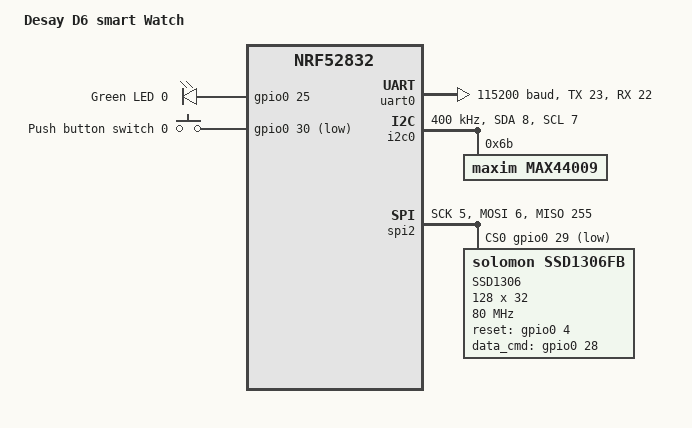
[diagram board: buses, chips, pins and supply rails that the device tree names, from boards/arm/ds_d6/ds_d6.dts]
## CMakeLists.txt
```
# SPDX-License-Identifier: Apache-2.0

cmake_minimum_required(VERSION 3.13.1)
# Add the board
list(APPEND BOARD_ROOT ${CMAKE_CURRENT_LIST_DIR})

find_package(Zephyr REQUIRED HINTS $ENV{ZEPHYR_BASE})
project(peripheral)





target_sources(app PRIVATE
  src/main.c
  src/cts.c
)


set(ZEPHYR_BOARD_FLASH_RUNNER jlink)
```

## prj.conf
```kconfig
# Incresed stack due to settings API usage
CONFIG_LOG=y

CONFIG_SYSTEM_WORKQUEUE_STACK_SIZE=2048

CONFIG_BT=y
CONFIG_BT_DEBUG_LOG=y
CONFIG_BT_SMP=y
CONFIG_BT_SIGNING=y
CONFIG_BT_PERIPHERAL=y
CONFIG_BT_DIS=y
CONFIG_BT_ATT_PREPARE_COUNT=5
CONFIG_BT_BAS=y
CONFIG_BT_HRS=y
CONFIG_BT_PRIVACY=y
CONFIG_BT_DEVICE_APPEARANCE=833
CONFIG_BT_DEVICE_NAME_DYNAMIC=y
CONFIG_BT_DEVICE_NAME_MAX=65

CONFIG_BT_KEYS_OVERWRITE_OLDEST=y
CONFIG_BT_SETTINGS=y
CONFIG_FLASH=y
CONFIG_FLASH_PAGE_LAYOUT=y
CONFIG_FLASH_MAP=y
CONFIG_NVS=y
CONFIG_SETTINGS=y
CONFIG_BT_GATT_CLIENT=y
```

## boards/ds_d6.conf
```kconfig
CONFIG_HEAP_MEM_POOL_SIZE=16384
CONFIG_MAIN_STACK_SIZE=2048

CONFIG_LVGL_FONT_MONTSERRAT_28=n
CONFIG_LVGL_FONT_MONTSERRAT_14=y

CONFIG_LVGL_USE_LABEL=y
CONFIG_LVGL_USE_CONT=y
CONFIG_LVGL_USE_THEME_MATERIAL=n
CONFIG_LVGL_TXT_ENC_UTF8=y
CONFIG_LVGL_FONT_UNSCII_8=n
CONFIG_LVGL_VDB_SIZE=64
CONFIG_USE_SEGGER_RTT=n
CONFIG_LVGL_USE_THEME_MONO=y
CONFIG_LVGL_THEME_DEFAULT_COLOR_PRIMARY_WHITE=y
CONFIG_LVGL_THEME_DEFAULT_COLOR_SECONDARY_BLACK=y
# Time functions
CONFIG_NEWLIB_LIBC=y
#CONFIG_LVGL_POINTER_KSCAN=y
CONFIG_BT_DEVICE_NAME="dsd6"
CONFIG_UART_CONSOLE=y
CONFIG_BT_CONN_TX_MAX=3
```

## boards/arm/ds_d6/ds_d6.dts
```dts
/*
* Copyright (c) 2019 Nordic Semiconductor ASA
*
* SPDX-License-Identifier: LicenseRef-BSD-5-Clause-Nordic
*/

/dts-v1/;
#include <nordic/nrf52832_qfaa.dtsi>

/ {
model = "Desay D6 smart Watch";
compatible = "nordic, nrf52832";

chosen {
	zephyr,console = &uart0;
	zephyr,shell-uart = &uart0;
	zephyr,uart-mcumgr = &uart0;
	zephyr,bt-mon-uart = &uart0;
	zephyr,bt-c2h-uart = &uart0;

	zephyr,sram = &sram0;
	zephyr,flash = &flash0;
	zephyr,code-partition = &slot0_partition;
};
leds    {
	compatible = "gpio-leds";
                led0_green: led_0 {
/*pin 25 is the motor*/
                       gpios = <&gpio0 25 GPIO_ACTIVE_HIGH>; //this is heart rate sensor led
                       label = "Green LED 0";
	//	       default-state = "on";
                };

        };


	buttons {
		compatible = "gpio-keys";
		button0: button_0 {
			gpios = <&gpio0 30 (GPIO_PULL_UP | GPIO_ACTIVE_LOW)>;
			label = "Push button switch 0";
		};
	};

       //heart rate sensor needs power, used this to pretend starting up a power rail 
/*        vdd_pwr: vdd-pwr-ctrl {
		compatible = "regulator-fixed";
                label = "vdd-pwr-ctrl";
                regulator-name = "vdd-pwr-ctrl";
                enable-gpios = <&gpio0 26 GPIO_ACTIVE_HIGH>;
                regulator-boot-on;
        };

*/
	aliases {
		sw0 = &button0;
		led0 = &led0_green;
/*		led2 = &led2_blue;
		led0-green = &led0_green;
		led1-red   = &led1_red;
		led2-blue  = &led2_blue;*/
	};

};

&gpiote {
	status = "okay";
};

&gpio0 {
	status = "okay";
};
&uart0 {
	status = "okay";
	compatible = "nordic,nrf-uart";
	current-speed = <115200>;
	tx-pin = <23>;
	rx-pin = <22>;
};

&i2c0 {
	compatible = "nordic,nrf-twi";
	status = "okay";
	sda-pin = <8>;
	scl-pin = <7>;
	clock-frequency = <I2C_BITRATE_FAST>;
//	clock-frequency = <400000>;
	max44009@6b {
		//power-gpios = <&gpio0 26 1>;
		compatible = "maxim,max44009";
		reg=<0x6b>;
		label="MAX44009";
        //        vin-supply = <&vdd_pwr>; //heart rate controller needs power first
	};
};

/*
&i2c1 {
	compatible = "nordic,nrf-twi";
	status = "okay";
	sda-pin = <14>;
	scl-pin = <13>;
	clock-frequency = <100000>;
	BME280@1f {
		compatible = "bosch,bme280";
		reg=<0x1f>;
		label="BME280";
	};
};


*/

&flash0 {
	/*
	 * For more information, see:
	 * http://docs.zephyrproject.org/latest/guides/dts/index.html#flash-partitions
	 */
	partitions {
		compatible = "fixed-partitions";
		#address-cells = <1>;
		#size-cells = <1>;

		boot_partition: partition@0 {
			label = "mcuboot";
			reg = <0x00000000 0x0000C000>;
		};
		slot0_partition: partition@c000 {
			label = "image-0";
			reg = <0x0000C000 0x00032000>;
		};
		slot1_partition: partition@3e000 {
			label = "image-1";
			reg = <0x0003e000 0x00032000>;
		};
		scratch_partition: partition@70000 {
			label = "image-scratch";
			reg = <0x00070000 0x0000a000>;
		};
		storage_partition: partition@7a000 {
			label = "storage";
			reg = <0x0007a000 0x00006000>;
		};
	};
};


&spi2 {
        compatible = "nordic,nrf-spi";
        status = "okay";
        sck-pin = <5>;
        mosi-pin = <6>;
        miso-pin = <0xFF>;
       // cs-gpios = <&gpio0 29 (GPIO_ACTIVE_LOW)>;
        cs-gpios = <&gpio0 29 (GPIO_ACTIVE_LOW)>;
        ssd1306new@0 {
                compatible = "solomon,ssd1306fb";
        	spi-max-frequency = <80000000>; 
                label = "SSD1306";
                reg = <0>;
		segment-offset = <0>;
		page-offset = <0>;
		display-offset = <0>; 
		multiplex-ratio = <31>;
		height = <32>;
		width = <128>;
		segment-remap;
//		com-invdir;
//alternative 0x12		com-sequential;
		prechargep = <0xF1>;
		reset-gpios = <&gpio0 4 0>;
                data_cmd-gpios = <&gpio0 28 0>;
        };
};
```

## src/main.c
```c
/* main.c - Application main entry point */

/*
 * Copyright (c) 2015-2016 Intel Corporation
 *
 * SPDX-License-Identifier: Apache-2.0
 * Copyright (c) 2021 najnesnaj@yahoo.com 

 */

#include <zephyr/types.h>
#include <stddef.h>
#include <string.h>
#include <errno.h>
#include <sys/printk.h>
#include <sys/byteorder.h>
#include <zephyr.h>

#include <settings/settings.h>

#include <bluetooth/bluetooth.h>
#include <bluetooth/hci.h>
#include <bluetooth/conn.h>
#include <bluetooth/uuid.h>
#include <bluetooth/gatt.h>
#include <bluetooth/services/bas.h>
#include <bluetooth/services/hrs.h>
#include "param_sync.h"

/* Custom Service Variables */
static struct bt_uuid_128 vnd_uuid = BT_UUID_INIT_128(
		0xf0, 0xde, 0xbc, 0x9a, 0x78, 0x56, 0x34, 0x12,
		0x78, 0x56, 0x34, 0x12, 0x78, 0x56, 0x34, 0x12);

static struct bt_uuid_128 vnd_enc_uuid = BT_UUID_INIT_128(
		0xf1, 0xde, 0xbc, 0x9a, 0x78, 0x56, 0x34, 0x12,
		0x78, 0x56, 0x34, 0x12, 0x78, 0x56, 0x34, 0x12);

static struct bt_uuid_128 vnd_auth_uuid = BT_UUID_INIT_128(
		0xf2, 0xde, 0xbc, 0x9a, 0x78, 0x56, 0x34, 0x12,
		0x78, 0x56, 0x34, 0x12, 0x78, 0x56, 0x34, 0x12);

static uint8_t vnd_value[] = { 'V', 'e', 'n', 'd', 'o', 'r' };

static ssize_t read_vnd(struct bt_conn *conn, const struct bt_gatt_attr *attr,
		void *buf, uint16_t len, uint16_t offset)
{
	const char *value = attr->user_data;

	return bt_gatt_attr_read(conn, attr, buf, len, offset, value,
			strlen(value));
}

static ssize_t write_vnd(struct bt_conn *conn, const struct bt_gatt_attr *attr,
		const void *buf, uint16_t len, uint16_t offset,
		uint8_t flags)
{
	uint8_t *value = attr->user_data;

	if (offset + len > sizeof(vnd_value)) {
		return BT_GATT_ERR(BT_ATT_ERR_INVALID_OFFSET);
	}

	memcpy(value + offset, buf, len);

	return len;
}

static uint8_t simulate_vnd;
static uint8_t indicating;
static struct bt_gatt_indicate_params ind_params;

static void vnd_ccc_cfg_changed(const struct bt_gatt_attr *attr, uint16_t value)
{
	simulate_vnd = (value == BT_GATT_CCC_INDICATE) ? 1 : 0;
}

static void indicate_cb(struct bt_conn *conn,
		struct bt_gatt_indicate_params *params, uint8_t err)
{
	printk("Indication %s\n", err != 0U ? "fail" : "success");
}

static void indicate_destroy(struct bt_gatt_indicate_params *params)
{
	printk("Indication complete\n");
	indicating = 0U;
}

#define MAX_DATA 74
static uint8_t vnd_long_value[] = {
	'V', 'e', 'n', 'd', 'o', 'r', ' ', 'd', 'a', 't', 'a', '1',
	'V', 'e', 'n', 'd', 'o', 'r', ' ', 'd', 'a', 't', 'a', '2',
	'V', 'e', 'n', 'd', 'o', 'r', ' ', 'd', 'a', 't', 'a', '3',
	'V', 'e', 'n', 'd', 'o', 'r', ' ', 'd', 'a', 't', 'a', '4',
	'V', 'e', 'n', 'd', 'o', 'r', ' ', 'd', 'a', 't', 'a', '5',
	'V', 'e', 'n', 'd', 'o', 'r', ' ', 'd', 'a', 't', 'a', '6',
	'.', ' ' };

static ssize_t read_long_vnd(struct bt_conn *conn,
		const struct bt_gatt_attr *attr, void *buf,
		uint16_t len, uint16_t offset)
{
	const char *value = attr->user_data;

	return bt_gatt_attr_read(conn, attr, buf, len, offset, value,
			sizeof(vnd_long_value));
}

static ssize_t write_long_vnd(struct bt_conn *conn,
		const struct bt_gatt_attr *attr, const void *buf,
		uint16_t len, uint16_t offset, uint8_t flags)
{
	uint8_t *value = attr->user_data;

	if (flags & BT_GATT_WRITE_FLAG_PREPARE) {
		return 0;
	}

	if (offset + len > sizeof(vnd_long_value)) {
		return BT_GATT_ERR(BT_ATT_ERR_INVALID_OFFSET);
	}

	memcpy(value + offset, buf, len);

	return len;
}

static const struct bt_uuid_128 vnd_long_uuid = BT_UUID_INIT_128(
		0xf3, 0xde, 0xbc, 0x9a, 0x78, 0x56, 0x34, 0x12,
		0x78, 0x56, 0x34, 0x12, 0x78, 0x56, 0x34, 0x12);

static struct bt_gatt_cep vnd_long_cep = {
	.properties = BT_GATT_CEP_RELIABLE_WRITE,
};

static int signed_value;

static ssize_t read_signed(struct bt_conn *conn, const struct bt_gatt_attr *attr,
		void *buf, uint16_t len, uint16_t offset)
{
	const char *value = attr->user_data;

	return bt_gatt_attr_read(conn, attr, buf, len, offset, value,
			sizeof(signed_value));
}

static ssize_t write_signed(struct bt_conn *conn, const struct bt_gatt_attr *attr,
		const void *buf, uint16_t len, uint16_t offset,
		uint8_t flags)
{
	uint8_t *value = attr->user_data;

	if (offset + len > sizeof(signed_value)) {
		return BT_GATT_ERR(BT_ATT_ERR_INVALID_OFFSET);
	}

	memcpy(value + offset, buf, len);

	return len;
}

static const struct bt_uuid_128 vnd_signed_uuid = BT_UUID_INIT_128(
		0xf3, 0xde, 0xbc, 0x9a, 0x78, 0x56, 0x34, 0x13,
		0x78, 0x56, 0x34, 0x12, 0x78, 0x56, 0x34, 0x13);

static const struct bt_uuid_128 vnd_write_cmd_uuid = BT_UUID_INIT_128(
		0xf4, 0xde, 0xbc, 0x9a, 0x78, 0x56, 0x34, 0x12,
		0x78, 0x56, 0x34, 0x12, 0x78, 0x56, 0x34, 0x12);

static ssize_t write_without_rsp_vnd(struct bt_conn *conn,
		const struct bt_gatt_attr *attr,
		const void *buf, uint16_t len, uint16_t offset,
		uint8_t flags)
{
	uint8_t *value = attr->user_data;

	/* Write request received. Reject it since this char only accepts
	 * Write Commands.
	 */
	if (!(flags & BT_GATT_WRITE_FLAG_CMD)) {
		return BT_GATT_ERR(BT_ATT_ERR_WRITE_REQ_REJECTED);
	}

	if (offset + len > sizeof(vnd_value)) {
		return BT_GATT_ERR(BT_ATT_ERR_INVALID_OFFSET);
	}

	memcpy(value + offset, buf, len);

	return len;
}

/* Vendor Primary Service Declaration */
/*BT_GATT_SERVICE_DEFINE(vnd_svc,
		BT_GATT_PRIMARY_SERVICE(&vnd_uuid),
		BT_GATT_CHARACTERISTIC(&vnd_enc_uuid.uuid,
			BT_GATT_CHRC_READ | BT_GATT_CHRC_WRITE |
			BT_GATT_CHRC_INDICATE,
			BT_GATT_PERM_READ_ENCRYPT |
			BT_GATT_PERM_WRITE_ENCRYPT,
			read_vnd, write_vnd, vnd_value),
		BT_GATT_CCC(vnd_ccc_cfg_changed,
			BT_GATT_PERM_READ | BT_GATT_PERM_WRITE_ENCRYPT),
		BT_GATT_CHARACTERISTIC(&vnd_auth_uuid.uuid,
			BT_GATT_CHRC_READ | BT_GATT_CHRC_WRITE,
			BT_GATT_PERM_READ_AUTHEN |
			BT_GATT_PERM_WRITE_AUTHEN,
			read_vnd, write_vnd, vnd_value),
		BT_GATT_CHARACTERISTIC(&vnd_long_uuid.uuid, BT_GATT_CHRC_READ |
			BT_GATT_CHRC_WRITE | BT_GATT_CHRC_EXT_PROP,
			BT_GATT_PERM_READ | BT_GATT_PERM_WRITE |
			BT_GATT_PERM_PREPARE_WRITE,
			read_long_vnd, write_long_vnd, &vnd_long_value),
		BT_GATT_CEP(&vnd_long_cep),
		BT_GATT_CHARACTERISTIC(&vnd_signed_uuid.uuid, BT_GATT_CHRC_READ |
				BT_GATT_CHRC_WRITE | BT_GATT_CHRC_AUTH,
				BT_GATT_PERM_READ | BT_GATT_PERM_WRITE,
				read_signed, write_signed, &signed_value),
		BT_GATT_CHARACTERISTIC(&vnd_write_cmd_uuid.uuid,
				BT_GATT_CHRC_WRITE_WITHOUT_RESP,
				BT_GATT_PERM_WRITE, NULL,
				write_without_rsp_vnd, &vnd_value),
		);
*/
static const struct bt_data ad[] = {
	BT_DATA_BYTES(BT_DATA_FLAGS, (BT_LE_AD_GENERAL | BT_LE_AD_NO_BREDR)),
	BT_DATA_BYTES(BT_DATA_UUID16_ALL,
			BT_UUID_16_ENCODE(BT_UUID_HRS_VAL),
			BT_UUID_16_ENCODE(BT_UUID_BAS_VAL),
			BT_UUID_16_ENCODE(BT_UUID_CTS_VAL)),
	BT_DATA_BYTES(BT_DATA_UUID128_ALL,
			0xf0, 0xde, 0xbc, 0x9a, 0x78, 0x56, 0x34, 0x12,
			0x78, 0x56, 0x34, 0x12, 0x78, 0x56, 0x34, 0x12),
};

static void connected(struct bt_conn *conn, uint8_t err)
{
	if (err) {
		printk("Connection failed (err 0x%02x)\n", err);
	} else {
		printk("Connected\n");
		//cts_sync_enable(true); //only if testing cts
	}
}

static void disconnected(struct bt_conn *conn, uint8_t reason)
{
	printk("Disconnected (reason 0x%02x)\n", reason);
		cts_sync_enable(false);
}

static struct bt_conn_cb conn_callbacks = {
	.connected = connected,
	.disconnected = disconnected,
};

static void bt_ready(void)
{
	int err;

	printk("Bluetooth initialized\n");


	if (IS_ENABLED(CONFIG_SETTINGS)) {
		settings_load();
	}

	err = bt_le_adv_start(BT_LE_ADV_CONN_NAME, ad, ARRAY_SIZE(ad), NULL, 0);
	if (err) {
		printk("Advertising failed to start (err %d)\n", err);
		return;
	}

	printk("Advertising successfully started\n");
}

static void auth_passkey_display(struct bt_conn *conn, unsigned int passkey)
{
	char addr[BT_ADDR_LE_STR_LEN];

	bt_addr_le_to_str(bt_conn_get_dst(conn), addr, sizeof(addr));

	printk("Passkey for %s: %06u\n", addr, passkey);
}

static void auth_cancel(struct bt_conn *conn)
{
	char addr[BT_ADDR_LE_STR_LEN];

	bt_addr_le_to_str(bt_conn_get_dst(conn), addr, sizeof(addr));

	printk("Pairing cancelled: %s\n", addr);
}

static struct bt_conn_auth_cb auth_cb_display = {
	.passkey_display = auth_passkey_display,
	.passkey_entry = NULL,
	.cancel = auth_cancel,
};

static void param_notify(int nummer)
{

	//this is to read out multiple parameters
	uint8_t battery_level = bt_bas_get_battery_level();
	static uint8_t heartrate = 90U;
	bt_bas_set_battery_level(nummer);
//	if (nummer == 10U)
//		bt_hrs_notify(heartrate);
//	else
		bt_hrs_notify(nummer);

}

static void bas_notify(void)
{
	uint8_t battery_level = bt_bas_get_battery_level();

	battery_level--;
	printk("battery_level: %d\n", battery_level);

	if (!battery_level) {
		battery_level = 100U;
	}

	bt_bas_set_battery_level(battery_level);
}

static void hrs_notify(void)
{
	static uint8_t heartrate = 90U;

	/* Heartrate measurements simulation */
	heartrate++;
	if (heartrate == 160U) {
		heartrate = 90U;
	}

	bt_hrs_notify(heartrate);
}

void main(void)
{
	int err;
int teller=0;
	err = bt_enable(NULL);
	if (err) {
		printk("Bluetooth init failed (err %d)\n", err);
		return;
	}

	bt_ready();

	bt_conn_cb_register(&conn_callbacks);
	bt_conn_auth_cb_register(&auth_cb_display);


        param_sync_init();

	/* Implement notification. At the moment there is no suitable way
	 * of starting delayed work so we do it here
	 */
	while (1) {
		k_sleep(K_SECONDS(1));
teller++;
if (teller > 240) teller=0;
		/* Current Time Service updates only when time is changed */
		//cts_notify();

		/* Heartrate measurements simulation */
//		hrs_notify();

		/* Battery level simulation */
		param_notify(teller);
		k_sleep(K_SECONDS(1));
//		param_notify(22);

		/* Vendor indication simulation */
/*		if (simulate_vnd) {
		  if (indicating) {
		  continue;
		  }

		  ind_params.attr = &vnd_svc.attrs[2];
		  ind_params.func = indicate_cb;
		  ind_params.destroy = indicate_destroy;
		  ind_params.data = &indicating;
		  ind_params.len = sizeof(indicating);

		  if (bt_gatt_indicate(NULL, &ind_params) == 0) {
		  indicating = 1U;
		  }
		  }*/
	}
}
```

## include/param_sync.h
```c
/*
 * Modifications: Copyright (c) 2020 Endian Technologies AB
 * Copyright (c) 2016 Intel Corporation
 * Copyright (c) 2021 najnesnaj@yahoo.com
 *
 * SPDX-License-Identifier: Apache-2.0
 */

#ifndef PARAM_SYNC__H
#define PARAM_SYNC__H

#include <time.h>
#include <stdbool.h>

void param_sync_init(void);
//void cts_sync_loop(void);
//void cts_sync_enable(bool enable);
//void cts_update_datetime(struct tm *);

#endif /* PARAM_SYNC__H */
```
